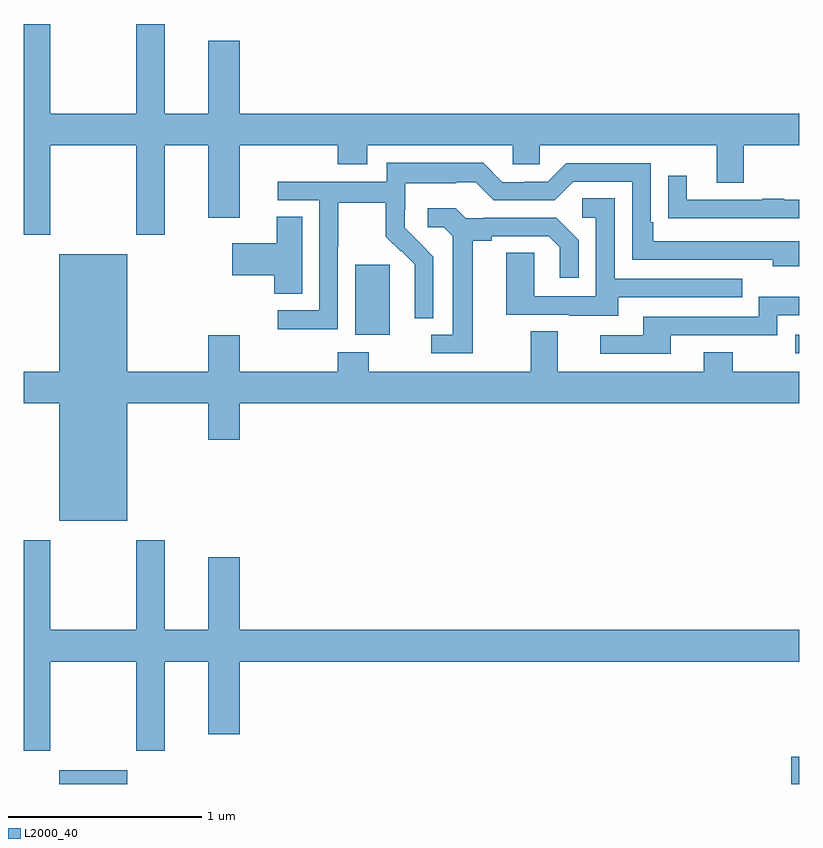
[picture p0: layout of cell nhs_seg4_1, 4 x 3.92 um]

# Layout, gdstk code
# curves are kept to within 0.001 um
import gdstk
lib = gdstk.Library(unit=1e-6, precision=1e-09)
def R(c, l, rs):  # rectangles x0, y0, x1, y1
    for r in rs: c.add(gdstk.rectangle(r[:2], r[2:], *l))
def P(c, l, *ps):  # polygons
    for p in ps: c.add(gdstk.Polygon(p, *l))
L2000_40 = (2000, 40)

nhs_seg4_1 = lib.new_cell('nhs_seg4_1')
R(nhs_seg4_1, L2000_40, [(111.182,750.9,111.532,750.97), (114.96,750.9,115,751.04), (114.981,753.123,115,753.219), (112.709,753.218,112.888,753.579)])
P(nhs_seg4_1, L2000_40, [(111.135,754.196),(111.58,754.196),(111.58,753.735),(111.727,753.735),(111.727,754.196),(111.95,754.196),(111.95,753.822),(112.114,753.822),(112.114,754.196),(112.619,754.196),(112.619,754.097),(112.771,754.097),(112.771,754.196),(113.523,754.196),(113.523,754.098),(113.661,754.098),(113.661,754.196),(114.575,754.196),(114.575,754.002),(114.715,754.002),(114.715,754.196),(115,754.196),(115,754.36),(112.114,754.36),(112.114,754.735),(111.95,754.735),(111.95,754.36),(111.727,754.36),(111.727,754.822),(111.58,754.822),(111.58,754.36),(111.135,754.36),(111.135,754.822),(111,754.822),(111,753.735),(111.135,753.735)],
  [(112.62,753.676),(112.623,753.676),(112.623,753.9),(112.867,753.9),(112.867,753.725),(112.944,753.648),(112.947,753.651),(113.018,753.581),(113.018,753.458),(113.016,753.458),(113.016,753.304),(113.112,753.304),(113.112,753.622),(112.966,753.77),(112.966,753.867),(112.968,753.867),(112.968,754.001),(113.231,754.001),(113.231,754.005),(113.331,754.005),(113.424,753.912),(113.739,753.912),(113.835,754.008),(114.138,754.008),(114.138,753.606),(114.863,753.606),(114.863,753.572),(115,753.572),(115,753.702),(114.247,753.702),(114.247,753.799),(114.234,753.799),(114.234,754.104),(113.799,754.104),(113.703,754.008),(113.585,754.008),(113.585,754.005),(113.469,754.005),(113.369,754.105),(112.872,754.105),(112.872,754.008),(112.311,754.008),(112.311,753.912),(112.524,753.912),(112.524,753.345),(112.311,753.345),(112.311,753.247),(112.62,753.247)],
  [(115,753.915),(114.923,753.915),(114.923,753.92),(114.811,753.92),(114.811,753.915),(114.421,753.915),(114.421,754.039),(114.325,754.039),(114.325,753.82),(114.427,753.82),(114.427,753.819),(115,753.819)],
  [(114.067,753.411),(114.707,753.411),(114.707,753.507),(114.048,753.507),(114.048,753.923),(113.88,753.923),(113.88,753.822),(113.952,753.822),(113.952,753.417),(113.634,753.417),(113.634,753.641),(113.489,753.641),(113.489,753.321),(113.813,753.321),(113.813,753.317),(114.067,753.317)],
  [(113.317,753.704),(113.413,753.704),(113.413,753.726),(113.708,753.726),(113.765,753.669),(113.765,753.513),(113.862,753.513),(113.862,753.706),(113.746,753.822),(113.374,753.822),(113.374,753.819),(113.28,753.819),(113.228,753.871),(113.085,753.871),(113.085,753.774),(113.166,753.774),(113.213,753.727),(113.213,753.219),(113.103,753.219),(113.103,753.123),(113.317,753.123)],
  [(112.435,753.827),(112.304,753.827),(112.304,753.691),(112.074,753.691),(112.074,753.526),(112.292,753.526),(112.292,753.43),(112.435,753.43)],
  [(111.532,752.864),(111.95,752.864),(111.95,752.676),(112.114,752.676),(112.114,752.864),(115,752.864),(115,753.028),(114.657,753.028),(114.657,753.127),(114.509,753.127),(114.509,753.028),(113.755,753.028),(113.755,753.236),(113.615,753.236),(113.615,753.028),(112.779,753.028),(112.779,753.127),(112.619,753.127),(112.619,753.028),(112.114,753.028),(112.114,753.217),(111.95,753.217),(111.95,753.028),(111.532,753.028),(111.532,753.634),(111.182,753.634),(111.182,753.028),(111,753.028),(111,752.864),(111.182,752.864),(111.182,752.258),(111.532,752.258)],
  [(114.337,753.216),(114.888,753.216),(114.888,753.318),(115,753.318),(115,753.415),(114.792,753.415),(114.792,753.312),(114.197,753.312),(114.197,753.216),(113.973,753.216),(113.973,753.12),(114.337,753.12)],
  [(111.135,751.532),(111.58,751.532),(111.58,751.071),(111.727,751.071),(111.727,751.532),(111.95,751.532),(111.95,751.158),(112.114,751.158),(112.114,751.532),(115,751.532),(115,751.696),(112.114,751.696),(112.114,752.071),(111.95,752.071),(111.95,751.696),(111.727,751.696),(111.727,752.158),(111.58,752.158),(111.58,751.696),(111.135,751.696),(111.135,752.158),(111,752.158),(111,751.071),(111.135,751.071)])

lib.write_gds('nhs_seg4_1.gds')
